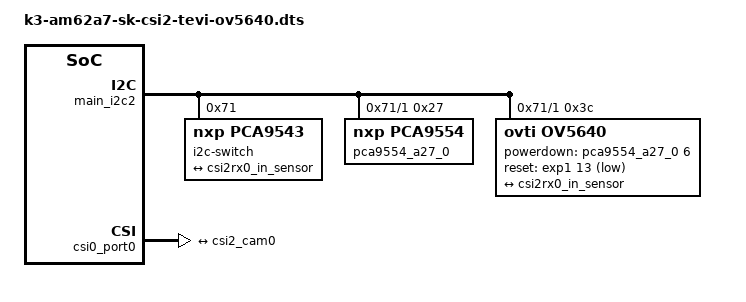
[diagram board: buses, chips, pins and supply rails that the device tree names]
// SPDX-License-Identifier: GPL-2.0
/*
 * Technexion TEVI-OV5640-*-RPI - OV5640 camera module
 *
 * Copyright (C) 2022 Texas Instruments Incorporated - https://www.ti.com/
 *
 */

/dts-v1/;
/plugin/;

#include <dt-bindings/gpio/gpio.h>

/ {
	fragment@101 {
		target-path = "/";

		__overlay__ {
			clk_ov5640_fixed: ov5640-xclk {
				compatible = "fixed-clock";
				#clock-cells = <0>;
				clock-frequency = <24000000>;
			};
		};
	};
};

&main_i2c2 {
	#address-cells = <1>;
	#size-cells = <0>;
	status = "okay";

	i2c-switch@71 {
		compatible = "nxp,pca9543";
		#address-cells = <1>;
		#size-cells = <0>;
		reg = <0x71>;

		/* CAM port */
		i2c@1 {
			#address-cells = <1>;
			#size-cells = <0>;
			reg = <1>;

			pca9554_a27_0: pca9554@27 {
				compatible = "nxp,pca9554";
				pinctrl-names = "default";
				reg = <0x27>;
				gpio-controller;
				#gpio-cells = <2>;
				status = "okay";
				gpio-line-names = "EXPOSURE_TRIG_IN1", "FLASH_OUT1", "CAM_SHUTTER1", "XVS1",
									"CSI1_PDB", "CSI1_INT", "INFO_TRIG_IN1", "CSI1_RST_N";
			};

			ov5640: camera@3c {
				compatible = "ovti,ov5640";
				reg = <0x3c>;

				clocks = <&clk_ov5640_fixed>;
				clock-names = "xclk";

				powerdown-gpios = <&pca9554_a27_0 6 GPIO_ACTIVE_HIGH>;
				reset-gpios = <&exp1 13 GPIO_ACTIVE_LOW>;

				port {
					csi2_cam0: endpoint {
						remote-endpoint = <&csi2rx0_in_sensor>;
						link-frequencies = /bits/ 64 <456000000>;
						clock-lanes = <0>;
						data-lanes = <1 2>;
					};
				};
			};
		};
	};
};

&csi0_port0 {
	status = "okay";

	csi2rx0_in_sensor: endpoint {
		remote-endpoint = <&csi2_cam0>;
		bus-type = <4>; /* CSI2 DPHY. */
		clock-lanes = <0>;
		data-lanes = <1 2>;
	};
};
